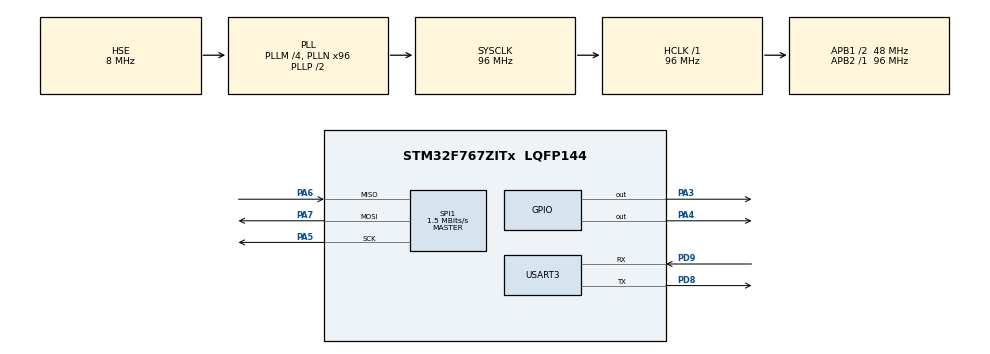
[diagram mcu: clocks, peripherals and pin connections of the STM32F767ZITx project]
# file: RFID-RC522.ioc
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Mcu.Family=STM32F7
Mcu.Name=STM32F767ZITx
Mcu.Package=LQFP144
NVIC.PriorityGroup=NVIC_PRIORITYGROUP_4
NVIC.USART3_IRQn=true\:0\:0\:false\:false\:true\:true\:true\:true
PA13.Mode=Serial_Wire
PA13.Signal=SYS_JTMS-SWDIO
PA14.Mode=Serial_Wire
PA14.Signal=SYS_JTCK-SWCLK
PA3.Signal=GPIO_Output
PA4.Signal=GPIO_Output
PA5.Mode=Full_Duplex_Master
PA5.Signal=SPI1_SCK
PA6.Mode=Full_Duplex_Master
PA6.Signal=SPI1_MISO
PA7.Mode=Full_Duplex_Master
PA7.Signal=SPI1_MOSI
PD8.Mode=Asynchronous
PD8.Signal=USART3_TX
PD9.Mode=Asynchronous
PD9.Signal=USART3_RX
PH0/OSC_IN.Mode=HSE-External-Clock-Source
PH0/OSC_IN.Signal=RCC_OSC_IN
PH1/OSC_OUT.Mode=HSE-External-Clock-Source
PH1/OSC_OUT.Signal=RCC_OSC_OUT
ProjectManager.HeapSize=0x200
ProjectManager.StackSize=0x400
ProjectManager.TargetToolchain=STM32CubeIDE
RCC.48MHZClocksFreq_Value=24000000
RCC.AHBFreq_Value=96000000
RCC.APB1CLKDivider=RCC_HCLK_DIV2
RCC.APB1Freq_Value=48000000
RCC.APB1TimFreq_Value=96000000
RCC.APB2Freq_Value=96000000
RCC.APB2TimFreq_Value=96000000
RCC.CortexFreq_Value=96000000
RCC.HCLKFreq_Value=96000000
RCC.HSE_VALUE=8000000
RCC.HSI_VALUE=16000000
RCC.LSE_VALUE=32768
RCC.PLLM=4
RCC.PLLMUL=RCC_PLL_MUL9
RCC.PLLN=96
RCC.PLLQ=4
RCC.PLLSourceVirtual=RCC_PLLSOURCE_HSE
RCC.PRESCALERUSB=RCC_USBCLKSOURCE_PLL_DIV1_5
RCC.SYSCLKFreq_VALUE=96000000
RCC.SYSCLKSource=RCC_SYSCLKSOURCE_PLLCLK
RCC.SYSCLKSourceVirtual=RCC_SYSCLKSOURCE_PLLCLK
RCC.USBFreq_Value=48000000
RCC.VCOOutputFreq_Value=192000000
SPI1.BaudRatePrescaler=SPI_BAUDRATEPRESCALER_64
SPI1.CalculateBaudRate=1.5 MBits/s
SPI1.DataSize=SPI_DATASIZE_8BIT
SPI1.Direction=SPI_DIRECTION_2LINES
SPI1.Mode=SPI_MODE_MASTER
SPI1.VirtualType=VM_MASTER
USART3.VirtualMode-Asynchronous=VM_ASYNC
board=NUCLEO-F767ZI

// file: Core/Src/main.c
/* USER CODE BEGIN Header */
/**
  ******************************************************************************
  * @file           : main.c
  * @brief          : Main program body
  ******************************************************************************
  * @attention
  *
  * Copyright (c) 2026 STMicroelectronics.
  * All rights reserved.
  *
  * This software is licensed under terms that can be found in the LICENSE file
  * in the root directory of this software component.
  * If no LICENSE file comes with this software, it is provided AS-IS.
  *
  ******************************************************************************
  */
/* USER CODE END Header */
#include "main.h"

/* USER CODE BEGIN Includes */
#include "MFRC522_STM32.h"
#include "MFRC522_MIFARE.h"
#include <string.h>
#include <stdio.h>
#include <ctype.h>
/* USER CODE END Includes */

SPI_HandleTypeDef hspi1;

UART_HandleTypeDef huart3;

/* USER CODE BEGIN PV */
static MFRC522_t rfid;
/* USER CODE END PV */

void SystemClock_Config(void);
static void MX_GPIO_Init(void);
static void MX_USART3_UART_Init(void);
static void MX_SPI1_Init(void);

/* USER CODE BEGIN 0 */
/* --- printf -> USART3 --- */
int _write(int fd, char *buf, int len)
{
    (void)fd;
    HAL_UART_Transmit(&huart3, (uint8_t*)buf, (uint16_t)len, 200);
    return len;
}

/* --- UART line input (interrupt) --- */
static uint8_t rxByte;
static volatile uint8_t lineReady = 0;
static char lineBuf[80];
static volatile uint16_t lineLen = 0;

typedef enum {
    APP_WAIT_CARD = 0,
    APP_ASK_ACTION,
    APP_ASK_BLOCK,
    APP_ASK_DATA,
    APP_DO_READ,
    APP_DO_WRITE,
    APP_WAIT_REMOVE
} app_state_t;

typedef enum {
    APP_ACTION_READ = 0,
    APP_ACTION_WRITE
} app_action_t;

static app_state_t appState = APP_WAIT_CARD;
static app_action_t appAction = APP_ACTION_READ;
static uint8_t selectedSector = 0;
static uint8_t selectedBlock = 0;
static uint8_t selectedBlockAbs = 0;
static uint8_t writeBuffer[16];

static void print_welcome(void)
{
    printf("\r\n=== MFRC522 MIFARE CLASSIC 1K MENU ===\r\n");
    printf("Kart okutmanizi bekliyorum...\r\n");
}

static void print_action_prompt(void)
{
    printf("\r\nIslem secin: Okuma (R) / Yazma (W)\r\n");
}

static void print_block_prompt(void)
{
    printf("Hedef blok format: s,<sektor>:b,<blok>\r\n");
    printf("Sektor 0-15, blok 0-3 (blok 3 trailer, kullanilmaz)\r\n");
}

static void print_data_prompt(void)
{
    printf("Yazilacak ASCII veri girin (max 16 karakter):\r\n");
}

static int parse_block_request(const char *line, uint8_t *sector, uint8_t *block)
{
    int s = -1;
    int b = -1;
    if (sscanf(line, "s,%d:b,%d", &s, &b) != 2) {
        return 0;
    }
    if (s < 0 || s > 15 || b < 0 || b > 3) {
        return 0;
    }
    *sector = (uint8_t)s;
    *block = (uint8_t)b;
    return 1;
}

static void handle_line(void)
{
    if (!lineReady) return;
    lineReady = 0;

    if (appState == APP_ASK_ACTION) {
        char c = (char)tolower((unsigned char)lineBuf[0]);
        if (c == 'r') {
            appAction = APP_ACTION_READ;
            appState = APP_ASK_BLOCK;
            print_block_prompt();
        } else if (c == 'w') {
            appAction = APP_ACTION_WRITE;
            appState = APP_ASK_BLOCK;
            print_block_prompt();
        } else {
            printf("Gecersiz secim. R ya da W girin.\r\n");
        }
        return;
    }

    if (appState == APP_ASK_BLOCK) {
        uint8_t sector = 0;
        uint8_t block = 0;
        if (!parse_block_request(lineBuf, &sector, &block)) {
            printf("Format hatali. Ornek: s,2:b,1\r\n");
            print_block_prompt();
            return;
        }
        if (block == 3) {
            printf("Blok 3 trailer bloktur. Lutfen 0-2 secin.\r\n");
            print_block_prompt();
            return;
        }
        selectedSector = sector;
        selectedBlock = block;
        selectedBlockAbs = (uint8_t)(sector * 4U + block);
        printf("Secim: sektor %u blok %u (abs %u)\r\n",
               selectedSector, selectedBlock, selectedBlockAbs);

        if (appAction == APP_ACTION_WRITE) {
            appState = APP_ASK_DATA;
            print_data_prompt();
        } else {
            appState = APP_DO_READ;
        }
        return;
    }

    if (appState == APP_ASK_DATA) {
        size_t len = strlen(lineBuf);
        if (len > sizeof(writeBuffer)) {
            printf("Veri cok uzun (%u). 16 karakterden kisa girin.\r\n", (unsigned int)len);
            print_data_prompt();
            return;
        }
        memset(writeBuffer, 0x00, sizeof(writeBuffer));
        memcpy(writeBuffer, lineBuf, len);
        appState = APP_DO_WRITE;
        return;
    }
}

static uint8_t read_card_uid(uint8_t uid4[4], uint8_t atqa[2], uint8_t *sak)
{
    uint8_t uid_bcc[5] = {0};
    if (MFRC522_PICC_WakeupA(&rfid, atqa) != STATUS_OK &&
        MFRC522_PICC_RequestA(&rfid, atqa) != STATUS_OK) {
        return STATUS_ERROR;
    }
    if (MFRC522_PICC_Anticoll_CL1(&rfid, uid_bcc) != STATUS_OK) {
        return STATUS_ERROR;
    }
    memcpy(uid4, uid_bcc, 4);
    if (MFRC522_SelectCL1(&rfid, uid_bcc, sak) != STATUS_OK) {
        return STATUS_ERROR;
    }
    return STATUS_OK;
}

static void process_card_operation(void)
{
    uint8_t atqa[2] = {0};
    uint8_t uid4[4] = {0};
    uint8_t sak = 0;

    if (read_card_uid(uid4, atqa, &sak) != STATUS_OK) {
        printf("Kart bulunamadi. Lutfen tekrar okutun.\r\n");
        appState = APP_WAIT_CARD;
        print_welcome();
        return;
    }

    printf("\r\n[CARD] UID: %02X %02X %02X %02X\r\n", uid4[0], uid4[1], uid4[2], uid4[3]);
    printf("[CARD] ATQA: %02X %02X SAK: %02X\r\n", atqa[0], atqa[1], sak);

    const uint8_t keyA[6] = KEYA_DEFAULT_6B;
    uint8_t stAuth = MFRC522_MifareAuthKeyA(&rfid, selectedBlockAbs, keyA, uid4);
    if (stAuth != STATUS_OK) {
        printf("[AUTH] KeyA FAIL (Block %u). st=%u ErrorReg=0x%02X Status2Reg=0x%02X\r\n",
               selectedBlockAbs, stAuth, MFRC522_ReadReg(&rfid, PCD_ErrorReg),
               MFRC522_ReadReg(&rfid, PCD_Status2Reg));
        MFRC522_StopCrypto1(&rfid);
        (void)MFRC522_PICC_HaltA(&rfid);
        appState = APP_WAIT_CARD;
        print_welcome();
        return;
    }

    if (appAction == APP_ACTION_READ) {
        uint8_t data[16] = {0};
        if (MFRC522_MifareReadBlock16(&rfid, selectedBlockAbs, data) == STATUS_OK) {
            printf("[READ] OK. Veri: \"");
            for (int i = 0; i < 16; i++) {
                char c = (char)data[i];
                if (c == '\0') break;
                if (isprint((unsigned char)c)) {
                    putchar(c);
                } else {
                    putchar('.');
                }
            }
            printf("\"\r\n");
        } else {
            printf("[READ] HATA: Okuma basarisiz.\r\n");
        }
    } else {
        printf("[WRITE] Yaziliyor...\r\n");
        if (MFRC522_MifareWriteBlock16(&rfid, selectedBlockAbs, writeBuffer) == STATUS_OK) {
            uint8_t verify[16] = {0};
            if (MFRC522_MifareReadBlock16(&rfid, selectedBlockAbs, verify) == STATUS_OK &&
                memcmp(verify, writeBuffer, 16) == 0) {
                printf("[WRITE] OK. Veri yazildi ve dogrulandi.\r\n");
            } else {
                printf("[WRITE] HATA: Dogrulama basarisiz.\r\n");
            }
        } else {
            printf("[WRITE] HATA: Yazma basarisiz.\r\n");
        }
    }

    MFRC522_StopCrypto1(&rfid);
    (void)MFRC522_PICC_HaltA(&rfid);
    printf("Islem tamamlandi. Karti kaldirin...\r\n");
    appState = APP_WAIT_REMOVE;
}

/* USER CODE END 0 */

int main(void)
{

  /* MCU Configuration--------------------------------------------------------*/

  /* Reset of all peripherals, Initializes the Flash interface and the Systick. */
  HAL_Init();

  /* Configure the system clock */
  SystemClock_Config();

  /* Initialize all configured peripherals */
  MX_GPIO_Init();
  MX_USART3_UART_Init();
  MX_SPI1_Init();
  /* USER CODE BEGIN 2 */
  HAL_UART_Receive_IT(&huart3, &rxByte, 1);

	HAL_GPIO_WritePin(GPIOA, GPIO_PIN_4, GPIO_PIN_SET);
	rfid.hspi = &hspi1;
	rfid.csPort = GPIOA;
	rfid.csPin = GPIO_PIN_4;  // CS = PA4
	rfid.rstPort = GPIOA;
	rfid.rstPin = GPIO_PIN_3;  // RST = PA3

	MFRC522_Init(&rfid);

	print_welcome();
  /* USER CODE END 2 */

  /* Infinite loop */
  while (1)
  {

    /* USER CODE BEGIN 3 */
		handle_line();
        if (appState == APP_WAIT_CARD) {
            uint8_t atqa[2] = {0};
            uint8_t uid_bcc[5] = {0};
            uint8_t uid4[4] = {0};
            uint8_t sak = 0;

            if (MFRC522_PICC_WakeupA(&rfid, atqa) == STATUS_OK ||
                MFRC522_PICC_RequestA(&rfid, atqa) == STATUS_OK) {
                if (MFRC522_PICC_Anticoll_CL1(&rfid, uid_bcc) == STATUS_OK &&
                    MFRC522_SelectCL1(&rfid, uid_bcc, &sak) == STATUS_OK) {
                    memcpy(uid4, uid_bcc, 4);
                    printf("\r\n[CARD] UID: %02X %02X %02X %02X\r\n",
                           uid4[0], uid4[1], uid4[2], uid4[3]);
                    printf("[CARD] ATQA: %02X %02X SAK: %02X\r\n", atqa[0], atqa[1], sak);
                    appState = APP_ASK_ACTION;
                    print_action_prompt();
                }
            }
        } else if (appState == APP_DO_READ || appState == APP_DO_WRITE) {
            process_card_operation();
        } else if (appState == APP_WAIT_REMOVE) {
            MFRC522_WaitCardRemoval(&rfid);
            appState = APP_WAIT_CARD;
            print_welcome();
        }
		HAL_Delay(30);
  }
  /* USER CODE END 3 */
}

void SystemClock_Config(void)
{
  RCC_OscInitTypeDef RCC_OscInitStruct = {0};
  RCC_ClkInitTypeDef RCC_ClkInitStruct = {0};

  /** Configure the main internal regulator output voltage
  */
  __HAL_RCC_PWR_CLK_ENABLE();
  __HAL_PWR_VOLTAGESCALING_CONFIG(PWR_REGULATOR_VOLTAGE_SCALE3);

  /** Initializes the RCC Oscillators according to the specified parameters
  * in the RCC_OscInitTypeDef structure.
  */
  RCC_OscInitStruct.OscillatorType = RCC_OSCILLATORTYPE_HSE;
  RCC_OscInitStruct.HSEState = RCC_HSE_BYPASS;
  RCC_OscInitStruct.PLL.PLLState = RCC_PLL_ON;
  RCC_OscInitStruct.PLL.PLLSource = RCC_PLLSOURCE_HSE;
  RCC_OscInitStruct.PLL.PLLM = 4;
  RCC_OscInitStruct.PLL.PLLN = 96;
  RCC_OscInitStruct.PLL.PLLP = RCC_PLLP_DIV2;
  RCC_OscInitStruct.PLL.PLLQ = 4;
  RCC_OscInitStruct.PLL.PLLR = 2;
  if (HAL_RCC_OscConfig(&RCC_OscInitStruct) != HAL_OK)
  {
    Error_Handler();
  }

  /** Activate the Over-Drive mode
  */
  if (HAL_PWREx_EnableOverDrive() != HAL_OK)
  {
    Error_Handler();
  }

  /** Initializes the CPU, AHB and APB buses clocks
  */
  RCC_ClkInitStruct.ClockType = RCC_CLOCKTYPE_HCLK|RCC_CLOCKTYPE_SYSCLK
                              |RCC_CLOCKTYPE_PCLK1|RCC_CLOCKTYPE_PCLK2;
  RCC_ClkInitStruct.SYSCLKSource = RCC_SYSCLKSOURCE_PLLCLK;
  RCC_ClkInitStruct.AHBCLKDivider = RCC_SYSCLK_DIV1;
  RCC_ClkInitStruct.APB1CLKDivider = RCC_HCLK_DIV2;
  RCC_ClkInitStruct.APB2CLKDivider = RCC_HCLK_DIV1;

  if (HAL_RCC_ClockConfig(&RCC_ClkInitStruct, FLASH_LATENCY_3) != HAL_OK)
  {
    Error_Handler();
  }
}

static void MX_SPI1_Init(void)
{

  /* SPI1 parameter configuration*/
  hspi1.Instance = SPI1;
  hspi1.Init.Mode = SPI_MODE_MASTER;
  hspi1.Init.Direction = SPI_DIRECTION_2LINES;
  hspi1.Init.DataSize = SPI_DATASIZE_8BIT;
  hspi1.Init.CLKPolarity = SPI_POLARITY_LOW;
  hspi1.Init.CLKPhase = SPI_PHASE_1EDGE;
  hspi1.Init.NSS = SPI_NSS_SOFT;
  hspi1.Init.BaudRatePrescaler = SPI_BAUDRATEPRESCALER_64;
  hspi1.Init.FirstBit = SPI_FIRSTBIT_MSB;
  hspi1.Init.TIMode = SPI_TIMODE_DISABLE;
  hspi1.Init.CRCCalculation = SPI_CRCCALCULATION_DISABLE;
  hspi1.Init.CRCPolynomial = 7;
  hspi1.Init.CRCLength = SPI_CRC_LENGTH_DATASIZE;
  hspi1.Init.NSSPMode = SPI_NSS_PULSE_ENABLE;
  if (HAL_SPI_Init(&hspi1) != HAL_OK)
  {
    Error_Handler();
  }

}

static void MX_USART3_UART_Init(void)
{

  huart3.Instance = USART3;
  huart3.Init.BaudRate = 115200;
  huart3.Init.WordLength = UART_WORDLENGTH_8B;
  huart3.Init.StopBits = UART_STOPBITS_1;
  huart3.Init.Parity = UART_PARITY_NONE;
  huart3.Init.Mode = UART_MODE_TX_RX;
  huart3.Init.HwFlowCtl = UART_HWCONTROL_NONE;
  huart3.Init.OverSampling = UART_OVERSAMPLING_16;
  huart3.Init.OneBitSampling = UART_ONE_BIT_SAMPLE_DISABLE;
  huart3.AdvancedInit.AdvFeatureInit = UART_ADVFEATURE_NO_INIT;
  if (HAL_UART_Init(&huart3) != HAL_OK)
  {
    Error_Handler();
  }

}

static void MX_GPIO_Init(void)
{
  GPIO_InitTypeDef GPIO_InitStruct = {0};

  /* GPIO Ports Clock Enable */
  __HAL_RCC_GPIOH_CLK_ENABLE();
  __HAL_RCC_GPIOA_CLK_ENABLE();
  __HAL_RCC_GPIOD_CLK_ENABLE();

  /*Configure GPIO pin Output Level */
  HAL_GPIO_WritePin(GPIOA, GPIO_PIN_3|GPIO_PIN_4, GPIO_PIN_RESET);

  /*Configure GPIO pins : PA3 PA4 */
  GPIO_InitStruct.Pin = GPIO_PIN_3|GPIO_PIN_4;
  GPIO_InitStruct.Mode = GPIO_MODE_OUTPUT_PP;
  GPIO_InitStruct.Pull = GPIO_NOPULL;
  GPIO_InitStruct.Speed = GPIO_SPEED_FREQ_LOW;
  HAL_GPIO_Init(GPIOA, &GPIO_InitStruct);

}

/* USER CODE BEGIN 4 */
void HAL_UART_RxCpltCallback(UART_HandleTypeDef *huart)
{
    if (huart->Instance == USART3) {
        char c = (char)rxByte;

        if (c == '\r' || c == '\n') {
            if (lineLen > 0) {
                lineBuf[lineLen] = 0;
                lineReady = 1;
                lineLen = 0;
            }
        } else {
            if (lineLen < (sizeof(lineBuf) - 1)) {
                lineBuf[lineLen++] = c;
            }
        }
        HAL_UART_Receive_IT(&huart3, &rxByte, 1);
    }
}
/* USER CODE END 4 */

void Error_Handler(void)
{
  __disable_irq();
  while (1)
  {
  }
}
